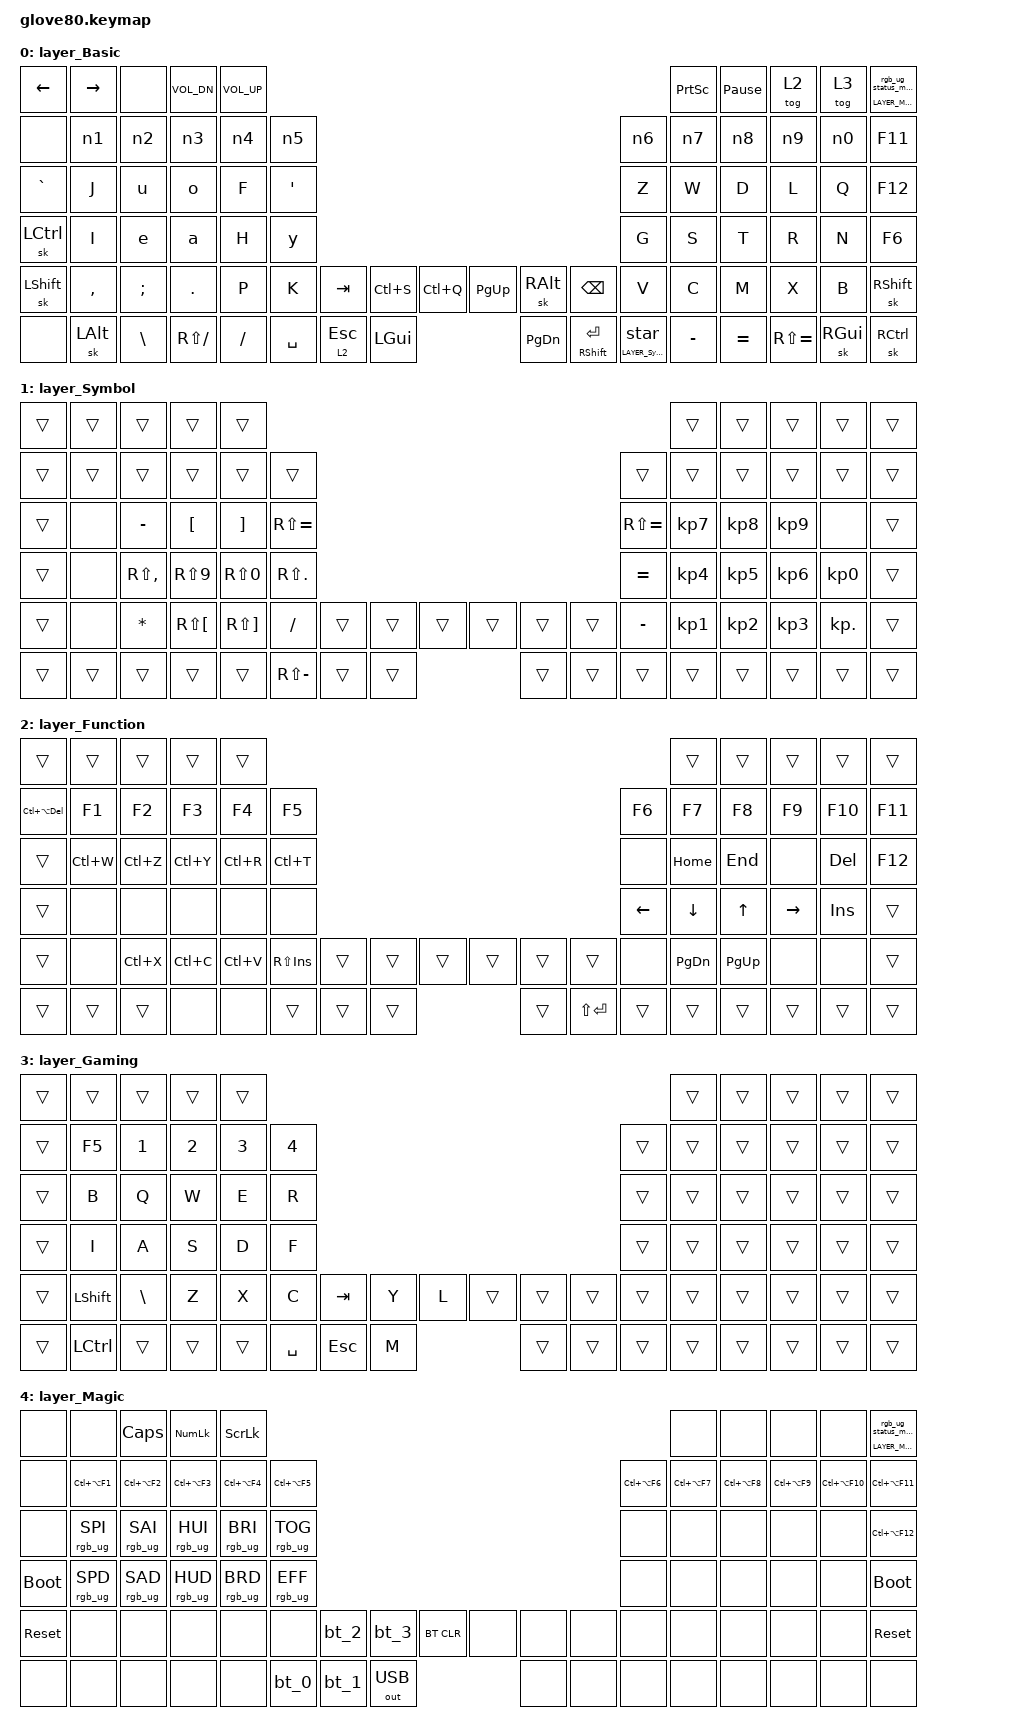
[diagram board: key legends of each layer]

/*
 * Copyright (c) 2020 The ZMK Contributors
 * Copyright (c) 2023 Innaworks Development Limited, trading as MoErgo
 *
 * SPDX-License-Identifier: MIT
 */


/* THIS FILE WAS GENERATED BY GLOVE80 LAYOUT EDITOR
 *
 * This file was generated automatically. You may or may not want to
 * edit it directly.
 */

#include <behaviors.dtsi>
/* Include all behavior includes needed */
#include <dt-bindings/zmk/outputs.h>
#include <dt-bindings/zmk/keys.h>
#include <dt-bindings/zmk/bt.h>
#include <dt-bindings/zmk/rgb.h>

/* Automatically generated layer name #define */
#define LAYER_Basic 0
#define LAYER_Symbol 1
#define LAYER_Function 2
#define LAYER_Gaming 3
#define LAYER_Magic 4

/* To deal with the situation where there is no Lower layer, to keep &lower happy */
#ifndef LAYER_Lower
#define LAYER_Lower 0
#endif

/* Custom Device-tree */
&lt {
    flavor = "hold-preferred";
};

&sk {
    quick-release;
};

#define SHIFT_OVERRIDE(name, normal, shifted)   \
    name: shifted_##name                      { \
        compatible = "zmk,behavior-mod-morph";  \
        #binding-cells = <0>;                   \
        bindings = <&kp normal>, <&kp shifted>; \
        mods = <(MOD_LSFT|MOD_RSFT)>;           \
    };

#define ALTGR_OVERRIDE(name, normal, altgred)   \
    name: altgr_##name                        { \
        compatible = "zmk,behavior-mod-morph";  \
        #binding-cells = <0>;                   \
        bindings = <&kp normal>, <&kp altgred>; \
        mods = <(MOD_RALT)>;                    \
        keep-mods = <(MOD_RALT)>;               \
    };


/* Glove80 system behavior & macros */
/ {
    behaviors {
        // For the "layer" key, it'd nice to be able to use it as either a shift or a toggle.
        // Configure it as a tap dance, so the first tap (or hold) is a &mo and the second tap is a &to
        lower: lower {
            compatible = "zmk,behavior-tap-dance";
            label = "LAYER_TAP_DANCE";
            #binding-cells = <0>;
            tapping-term-ms = <200>;
            bindings = <&mo LAYER_Lower>, <&to LAYER_Lower>;
        };
    };
};

/ {
    macros {
        rgb_ug_status_macro: rgb_ug_status_macro {
            label = "RGB_UG_STATUS";
            compatible = "zmk,behavior-macro";
            #binding-cells = <0>;
            bindings
                = <&rgb_ug RGB_STATUS>;
        };
    };
};


/ {
#ifdef BT_DISC_CMD
    behaviors {
        bt_0: bt_0 {
            compatible = "zmk,behavior-tap-dance";
            label = "BT_0";
            #binding-cells = <0>;
            tapping-term-ms = <200>;
            bindings = <&bt_select_0>, <&bt BT_DISC 0>;
        };
        bt_1: bt_1 {
            compatible = "zmk,behavior-tap-dance";
            label = "BT_1";
            #binding-cells = <0>;
            tapping-term-ms = <200>;
            bindings = <&bt_select_1>, <&bt BT_DISC 1>;
        };
        bt_2: bt_2 {
            compatible = "zmk,behavior-tap-dance";
            label = "BT_2";
            #binding-cells = <0>;
            tapping-term-ms = <200>;
            bindings = <&bt_select_2>, <&bt BT_DISC 2>;
        };
        bt_3: bt_3 {
            compatible = "zmk,behavior-tap-dance";
            label = "BT_3";
            #binding-cells = <0>;
            tapping-term-ms = <200>;
            bindings = <&bt_select_3>, <&bt BT_DISC 3>;
        };
    };
    macros {
        bt_select_0: bt_select_0 {
            label = "BT_SELECT_0";
            compatible = "zmk,behavior-macro";
            #binding-cells = <0>;
            bindings
                = <&out OUT_BLE>,
                  <&bt BT_SEL 0>;
        };
        bt_select_1: bt_select_1 {
            label = "BT_SELECT_1";
            compatible = "zmk,behavior-macro";
            #binding-cells = <0>;
            bindings
                = <&out OUT_BLE>,
                  <&bt BT_SEL 1>;
        };
        bt_select_2: bt_select_2 {
            label = "BT_SELECT_2";
            compatible = "zmk,behavior-macro";
            #binding-cells = <0>;
            bindings
                = <&out OUT_BLE>,
                  <&bt BT_SEL 2>;
        };
        bt_select_3: bt_select_3 {
            label = "BT_SELECT_3";
            compatible = "zmk,behavior-macro";
            #binding-cells = <0>;
            bindings
                = <&out OUT_BLE>,
                  <&bt BT_SEL 3>;
        };
    };
#else
    macros {
        bt_0: bt_0 {
            label = "BT_0";
            compatible = "zmk,behavior-macro";
            #binding-cells = <0>;
            bindings
                = <&out OUT_BLE>,
                  <&bt BT_SEL 0>;
        };
        bt_1: bt_1 {
            label = "BT_1";
            compatible = "zmk,behavior-macro";
            #binding-cells = <0>;
            bindings
                = <&out OUT_BLE>,
                  <&bt BT_SEL 1>;
        };
        bt_2: bt_2 {
            label = "BT_2";
            compatible = "zmk,behavior-macro";
            #binding-cells = <0>;
            bindings
                = <&out OUT_BLE>,
                  <&bt BT_SEL 2>;
        };
        bt_3: bt_3 {
            label = "BT_3";
            compatible = "zmk,behavior-macro";
            #binding-cells = <0>;
            bindings
                = <&out OUT_BLE>,
                  <&bt BT_SEL 3>;
        };
    };
#endif
};

/ {
    behaviors {
        magic: magic {
            compatible = "zmk,behavior-hold-tap";
            label = "MAGIC_HOLD_TAP";
            #binding-cells = <2>;
            flavor = "tap-preferred";
            tapping-term-ms = <200>;
            bindings = <&mo>, <&rgb_ug_status_macro>;
        };
    };
};

/* #define for key positions */
#define POS_LH_T1 52
#define POS_LH_T2 53
#define POS_LH_T3 54
#define POS_LH_T4 69
#define POS_LH_T5 70
#define POS_LH_T6 71
#define POS_LH_C1R2 15
#define POS_LH_C1R3 27
#define POS_LH_C1R4 39
#define POS_LH_C1R5 51
#define POS_LH_C2R1 4
#define POS_LH_C2R2 14
#define POS_LH_C2R3 26
#define POS_LH_C2R4 38
#define POS_LH_C2R5 50
#define POS_LH_C2R6 68
#define POS_LH_C3R1 3
#define POS_LH_C3R2 13
#define POS_LH_C3R3 25
#define POS_LH_C3R4 37
#define POS_LH_C3R5 49
#define POS_LH_C3R6 67
#define POS_LH_C4R1 2
#define POS_LH_C4R2 12
#define POS_LH_C4R3 24
#define POS_LH_C4R4 36
#define POS_LH_C4R5 48
#define POS_LH_C4R6 66
#define POS_LH_C5R1 1
#define POS_LH_C5R2 11
#define POS_LH_C5R3 23
#define POS_LH_C5R4 35
#define POS_LH_C5R5 47
#define POS_LH_C5R6 65
#define POS_LH_C6R1 0
#define POS_LH_C6R2 10
#define POS_LH_C6R3 22
#define POS_LH_C6R4 34
#define POS_LH_C6R5 46
#define POS_LH_C6R6 64
#define POS_RH_T1 57
#define POS_RH_T2 56
#define POS_RH_T3 55
#define POS_RH_T4 74
#define POS_RH_T5 73
#define POS_RH_T6 72
#define POS_RH_C1R2 16
#define POS_RH_C1R3 28
#define POS_RH_C1R4 40
#define POS_RH_C1R5 58
#define POS_RH_C2R1 5
#define POS_RH_C2R2 17
#define POS_RH_C2R3 29
#define POS_RH_C2R4 41
#define POS_RH_C2R5 59
#define POS_RH_C2R6 75
#define POS_RH_C3R1 6
#define POS_RH_C3R2 18
#define POS_RH_C3R3 30
#define POS_RH_C3R4 42
#define POS_RH_C3R5 60
#define POS_RH_C3R6 76
#define POS_RH_C4R1 7
#define POS_RH_C4R2 19
#define POS_RH_C4R3 31
#define POS_RH_C4R4 43
#define POS_RH_C4R5 61
#define POS_RH_C4R6 77
#define POS_RH_C5R1 8
#define POS_RH_C5R2 20
#define POS_RH_C5R3 32
#define POS_RH_C5R4 44
#define POS_RH_C5R5 62
#define POS_RH_C5R6 78
#define POS_RH_C6R1 9
#define POS_RH_C6R2 21
#define POS_RH_C6R3 33
#define POS_RH_C6R4 45
#define POS_RH_C6R5 63
#define POS_RH_C6R6 79

/* Custom Defined Behaviors */
/ {
behaviors {
    SHIFT_OVERRIDE(left_par, RS(N9), RS(LEFT_BRACKET))
    SHIFT_OVERRIDE(right_par, RS(N0), RS(RIGHT_BRACKET))
    SHIFT_OVERRIDE(dot_qstn, DOT, RS(SLASH))
    SHIFT_OVERRIDE(cma_slsh, COMMA, SLASH)
    SHIFT_OVERRIDE(und_mns, RS(MINUS), MINUS)

    ALTGR_OVERRIDE(a, A, Q)
    ALTGR_OVERRIDE(o, O, P)
    ALTGR_OVERRIDE(u, U, Y)
    ALTGR_OVERRIDE(e, E, L)
    ALTGR_OVERRIDE(y, Y, Z)

    SHIFT_OVERRIDE(n1, RS(N1), N1)
    SHIFT_OVERRIDE(n2, RS(N2), N2)
    SHIFT_OVERRIDE(n3, RS(N3), N3)
    SHIFT_OVERRIDE(n4, RS(N4), N4)
    SHIFT_OVERRIDE(n5, RS(N5), N5)
    SHIFT_OVERRIDE(n6, RS(N6), N6)
    SHIFT_OVERRIDE(n7, RS(N7), N7)
    SHIFT_OVERRIDE(n8, RS(N8), N8)
    SHIFT_OVERRIDE(n9, RS(COMMA), N9)
    SHIFT_OVERRIDE(n0, RS(PERIOD), N0)

    star: star_key {
        compatible = "zmk,behavior-antecedent-morph";
        label = "STAR_KEY";
        #binding-cells = <0>;
        defaults = <&sk RSHIFT>;
        bindings = <&kp APOS>, <&kp I>,
                   <&kp E>, <&kp U>,
                   <&kp A>, <&kp O>,
                   <&kp Y>, <&kp Y>, <&kp Y>, <&kp H>, <&kp P>,
                   <&kp C>, <&kp S>, <&kp S>, <&kp S>,
                   <&kp M>, <&kp D>, <&kp R>, <&kp L>,
                   <&kp U>, <&kp N>, <&kp L>;
        antecedents = <I J U E O A F H K P Y S C V G D M L R Q N B>;
        max-delay-ms = <850>;
    };

    ht_star: star_hold_tap {
        compatible = "zmk,behavior-hold-tap";
        label = "STAR_HOLD_TAP";
        #binding-cells = <2>;
        flavor = "balanced";
        tapping-term-ms = <200>;
        bindings = <&mo>, <&star>;
    };
};
};

/* Automatically generated macro definitions */
/ {
    macros {
    
    };
};

/* Automatically generated combos definitions */
/ {
    combos {
            compatible = "zmk,combos";
    };
};

/* Automatically generated behavior definitions */
/ {
    behaviors {
    
    };
};

/* Automatically generated keymap */
/ {
    keymap {
        compatible = "zmk,keymap";


        layer_Basic {
            bindings = <
  &kp LEFT  &kp RIGHT     &none  &kp C_VOL_DN  &kp C_VOL_UP                                                                                                       &kp PSCRN  &kp PAUSE_BREAK         &tog 2    &tog 3  &magic LAYER_Magic 0
     &none        &n1       &n2           &n3           &n4      &n5                                                                                         &n6        &n7              &n8            &n9       &n0               &kp F11
 &kp GRAVE      &kp J        &u            &o         &kp F  &kp SQT                                                                                       &kp Z      &kp W            &kp D          &kp L     &kp Q               &kp F12
 &sk LCTRL      &kp I        &e            &a         &kp H       &y                                                                                       &kp G      &kp S            &kp T          &kp R     &kp N                &kp F6
 &sk LSHFT  &kp COMMA  &kp SEMI       &kp DOT         &kp P    &kp K    &kp TAB  &kp LC(S)  &kp LC(Q)  &kp PG_UP       &sk RALT                 &kp BSPC   &kp V      &kp C            &kp M          &kp X     &kp B             &sk RSHFT
     &none   &sk LALT  &kp BSLH  &kp RS(FSLH)      &kp FSLH           &kp SPACE  &lt 2 ESC   &kp LGUI  &kp PG_DN  &mt RSHFT RET  &ht_star LAYER_Symbol 0          &kp MINUS        &kp EQUAL  &kp RS(EQUAL)  &sk RGUI             &sk RCTRL
            >;
        };

        layer_Symbol {
            bindings = <
 &trans  &trans         &trans        &trans        &trans                                                                                          &trans     &trans     &trans      &trans  &trans
 &trans  &trans         &trans        &trans        &trans         &trans                                                                &trans     &trans     &trans     &trans      &trans  &trans
 &trans   &none      &kp MINUS      &kp LBKT      &kp RBKT  &kp RS(EQUAL)                                                         &kp RS(EQUAL)  &kp KP_N7  &kp KP_N8  &kp KP_N9       &none  &trans
 &trans   &none  &kp RS(COMMA)    &kp RS(N9)    &kp RS(N0)    &kp RS(DOT)                                                             &kp EQUAL  &kp KP_N4  &kp KP_N5  &kp KP_N6   &kp KP_N0  &trans
 &trans   &none       &kp STAR  &kp RS(LBKT)  &kp RS(RBKT)       &kp FSLH         &trans  &trans  &trans  &trans  &trans  &trans      &kp MINUS  &kp KP_N1  &kp KP_N2  &kp KP_N3  &kp KP_DOT  &trans
 &trans  &trans         &trans        &trans        &trans                 &kp RS(MINUS)  &trans  &trans  &trans  &trans  &trans                    &trans     &trans     &trans      &trans  &trans
            >;
        };

        layer_Function {
            bindings = <
          &trans     &trans     &trans     &trans     &trans                                                                                 &trans     &trans     &trans   &trans   &trans
 &kp LC(LA(DEL))     &kp F1     &kp F2     &kp F3     &kp F4       &kp F5                                                         &kp F6     &kp F7     &kp F8     &kp F9  &kp F10  &kp F11
          &trans  &kp LC(W)  &kp LC(Z)  &kp LC(Y)  &kp LC(R)    &kp LC(T)                                                          &none   &kp HOME    &kp END      &none  &kp DEL  &kp F12
          &trans      &none      &none      &none      &none        &none                                                       &kp LEFT   &kp DOWN     &kp UP  &kp RIGHT  &kp INS   &trans
          &trans      &none  &kp LC(X)  &kp LC(C)  &kp LC(V)  &kp RS(INS)  &trans  &trans  &trans  &trans       &trans  &trans     &none  &kp PG_DN  &kp PG_UP      &none    &none   &trans
          &trans     &trans     &trans      &none      &none               &trans  &trans  &trans  &trans  &kp LS(RET)  &trans               &trans     &trans     &trans   &trans   &trans
            >;
        };

        layer_Gaming {
            bindings = <
 &trans     &trans    &trans  &trans  &trans                                                                      &trans  &trans  &trans  &trans  &trans
 &trans     &kp F5    &kp N1  &kp N2  &kp N3  &kp N4                                                      &trans  &trans  &trans  &trans  &trans  &trans
 &trans      &kp B     &kp Q   &kp W   &kp E   &kp R                                                      &trans  &trans  &trans  &trans  &trans  &trans
 &trans      &kp I     &kp A   &kp S   &kp D   &kp F                                                      &trans  &trans  &trans  &trans  &trans  &trans
 &trans  &kp LSHFT  &kp BSLH   &kp Z   &kp X   &kp C    &kp TAB    &kp Y   &kp L  &trans  &trans  &trans  &trans  &trans  &trans  &trans  &trans  &trans
 &trans  &kp LCTRL    &trans  &trans  &trans          &kp SPACE  &kp ESC   &kp M  &trans  &trans  &trans          &trans  &trans  &trans  &trans  &trans
            >;
        };

        layer_Magic {
            bindings = <
       &none            &none         &kp CAPS       &kp KP_NUM         &kp SLCK                                                                                                  &none           &none           &none            &none  &magic LAYER_Magic 0
       &none   &kp LC(LA(F1))   &kp LC(LA(F2))   &kp LC(LA(F3))   &kp LC(LA(F4))   &kp LC(LA(F5))                                                        &kp LC(LA(F6))  &kp LC(LA(F7))  &kp LC(LA(F8))  &kp LC(LA(F9))  &kp LC(LA(F10))       &kp LC(LA(F11))
       &none  &rgb_ug RGB_SPI  &rgb_ug RGB_SAI  &rgb_ug RGB_HUI  &rgb_ug RGB_BRI  &rgb_ug RGB_TOG                                                                 &none           &none           &none           &none            &none       &kp LC(LA(F12))
 &bootloader  &rgb_ug RGB_SPD  &rgb_ug RGB_SAD  &rgb_ug RGB_HUD  &rgb_ug RGB_BRD  &rgb_ug RGB_EFF                                                                 &none           &none           &none           &none            &none           &bootloader
  &sys_reset            &none            &none            &none            &none            &none   &bt_2   &bt_3    &bt BT_CLR   &none   &none   &none           &none           &none           &none           &none            &none            &sys_reset
       &none            &none            &none            &none            &none                    &bt_0   &bt_1  &out OUT_USB   &none   &none   &none                           &none           &none           &none            &none                 &none
            >;
        };

    };
};
